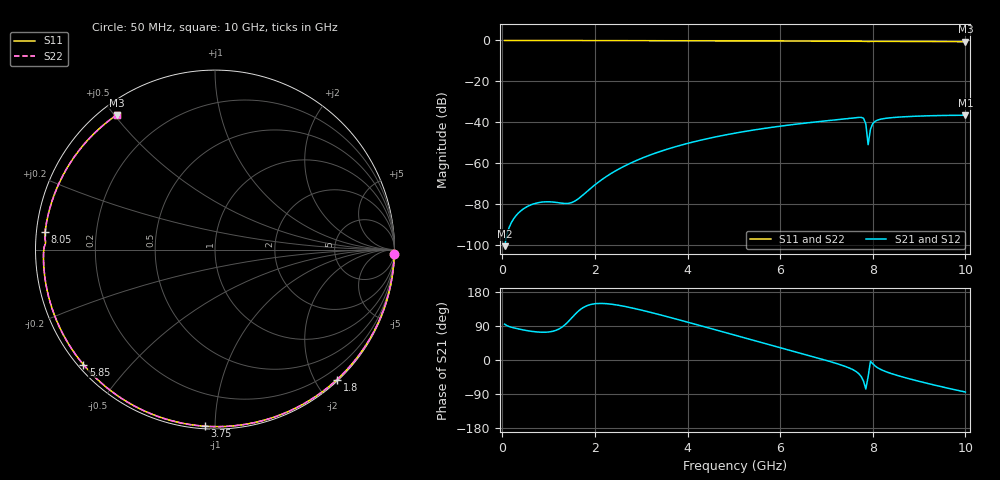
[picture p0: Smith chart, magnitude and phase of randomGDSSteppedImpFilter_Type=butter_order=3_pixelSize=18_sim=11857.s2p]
! freq	dB(S11)	phase(S11)	dB(S12)	phase(S12)
!  dB(S21)	phase(S21)	dB(S22)	phase(S22)
!S-par simulation data
#  GHz  S  DB  R 50
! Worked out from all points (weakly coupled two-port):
!   200 points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, 50 MHz to 10 GHz, reference 50 ohm
!   highest |S21| = -36.51 dB at 10 GHz (marker M1); lowest = -100.4 dB at 50 MHz (marker M2)
!   lowest |S11| = -0.6 dB at 10 GHz (marker M3), VSWR 27.21, Z = 2.31 + j25.3 ohm
!   |S11| at or under -10 dB: nowhere
!   |S22| runs from -0.6 to 0.0 dB; largest |S21 - S12| = 0
!   S11 on the Smith chart (normalised r, x): 50 MHz: 1, -88; 1.8 GHz: 0.02, -2.31; 3.75 GHz: 0.01, -0.94; 5.85 GHz: 0.02, -0.38; 8.05 GHz: 0.03, +0.05; 10 GHz: 0.05, +0.51
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0.05  -0.00 -1.3  -100.43 94.7  -100.43 94.7  -0.00 -1.3
0.65  -0.02 -17.2  -80.00 75.4  -80.00 75.4  -0.02 -17.2
0.95  -0.03 -25.1  -78.76 73.4  -78.76 73.4  -0.03 -25.0
1.4  -0.05 -36.7  -79.58 98.2  -79.58 98.2  -0.05 -36.7
1.55  -0.05 -40.5  -78.63 117.8  -78.63 117.8  -0.05 -40.5
1.75  -0.06 -45.6  -75.30 138.6  -75.30 138.6  -0.06 -45.6
1.8  -0.06 -46.8  -74.31 141.8  -74.31 141.8  -0.06 -46.8
2.5  -0.08 -64.1  -62.97 144.7  -62.97 144.7  -0.08 -64.1
3.4  -0.11 -85.4  -54.27 119.5  -54.27 119.5  -0.11 -85.3
3.75  -0.12 -93.3  -51.81 108.2  -51.81 108.2  -0.12 -93.3
5.05  -0.18 -121.9  -45.16 64.6  -45.16 64.6  -0.18 -121.9
5.85  -0.23 -138.9  -42.31 37.8  -42.31 37.8  -0.23 -138.9
6.7  -0.29 -156.9  -39.95 9.2  -39.95 9.2  -0.29 -156.8
7.8  -0.44 179.0  -37.98 -55.8  -37.98 -55.8  -0.44 179.1
7.85  -0.48 178.0  -40.73 -76.5  -40.73 -76.5  -0.48 178.0
7.9  -0.49 177.3  -50.91 -43.7  -50.91 -43.7  -0.49 177.4
7.95  -0.46 176.3  -43.32 -3.4  -43.32 -3.4  -0.46 176.4
8  -0.44 175.2  -40.59 -10.0  -40.59 -10.0  -0.44 175.2
8.05  -0.43 174.0  -39.50 -15.8  -39.50 -15.8  -0.43 174.0
8.35  -0.45 167.1  -37.82 -33.8  -37.82 -33.8  -0.45 167.1
9.15  -0.54 148.0  -36.81 -60.8  -36.81 -60.8  -0.54 148.0
10  -0.64 126.2  -36.51 -84.5  -36.51 -84.5  -0.64 126.2
